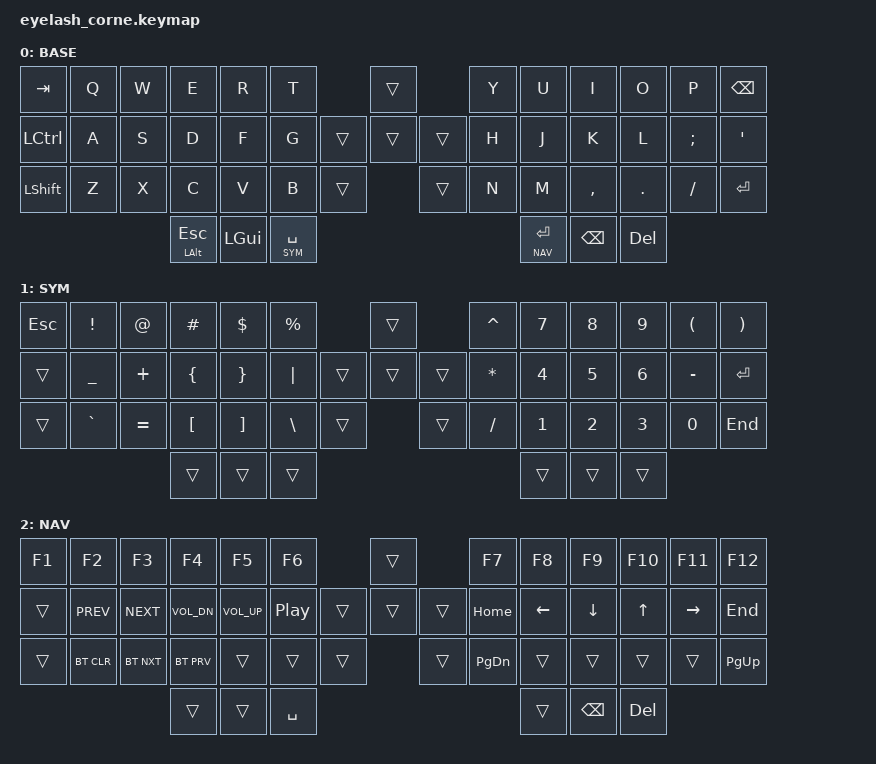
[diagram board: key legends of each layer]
#include <behaviors.dtsi>
#include <dt-bindings/zmk/backlight.h>
#include <dt-bindings/zmk/bt.h>
#include <dt-bindings/zmk/keys.h>

#define BASE 0
#define SYM  1
#define NAV  2

// ─── Mod-tap: используется только для ESC/LALT на большом пальце ─────────────
&mt {
    tapping-term-ms = <200>;
    quick-tap-ms = <150>;
    hold-trigger-on-release;
    flavor = "balanced";
};

// ─── Layer-tap: SPACE→SYM и ENTER→NAV ────────────────────────────────────────
&lt {
    tapping-term-ms = <200>;
    quick-tap-ms = <150>;
    flavor = "tap-preferred";  // быстрый тап всегда даёт символ, не слой
};

&soft_off { hold-time-ms = <2000>; };

/ {
    combos {
        compatible = "zmk,combos";

        // Зажать три клавиши 2 сек — выключить клавиатуру
        softoff {
            bindings = <&soft_off>;
            key-positions = <1 15 29>;
        };
    };

    keymap {
        compatible = "zmk,keymap";

        // ═══════════════════════════════════════════════════════════════════
        // СЛОЙ 0: BASE — QWERTY
        // Модификаторы на крайних колонках, как на обычной клаве.
        // Русский язык — переключается в ОС, ZMK ничего не делает.
        //
        // ┌────────┬───┬───┬───┬───┬───┐   ┌───┬───┬───┬───┬───┬──────┐
        // │  TAB   │ Q │ W │ E │ R │ T │   │ Y │ U │ I │ O │ P │ BSPC │
        // ├────────┼───┼───┼───┼───┼───┤   ├───┼───┼───┼───┼───┼──────┤
        // │ LCTRL  │ A │ S │ D │ F │ G │   │ H │ J │ K │ L │ ; │  '   │
        // ├────────┼───┼───┼───┼───┼───┤   ├───┼───┼───┼───┼───┼──────┤
        // │ LSHIFT │ Z │ X │ C │ V │ B │   │ N │ M │ , │ . │ / │ ENT  │
        // └────────┴───┴───┴───┴───┴───┘   └───┴───┴───┴───┴───┴──────┘
        //              ┌──────────┬──────┬───────────┐   ┌───────────┬──────┬─────┐
        //              │ ESC/LALT │ LGUI │ SPC / SYM │   │ ENT / NAV │ BSPC │ DEL │
        //              └──────────┴──────┴───────────┘   └───────────┴──────┴─────┘
        // ═══════════════════════════════════════════════════════════════════
        BASE {
            bindings = <
&kp TAB     &kp Q  &kp W  &kp E  &kp R  &kp T                      &trans          &kp Y  &kp U    &kp I      &kp O    &kp P     &kp BSPC
&kp LCTRL   &kp A  &kp S  &kp D  &kp F  &kp G              &trans  &trans  &trans  &kp H  &kp J    &kp K      &kp L    &kp SEMI  &kp SQT
&kp LSHIFT  &kp Z  &kp X  &kp C  &kp V  &kp B    &trans            &trans          &kp N  &kp M    &kp COMMA  &kp DOT  &kp FSLH  &kp ENTER
                       &mt LALT ESC  &kp LGUI  &lt SYM SPACE                        &lt NAV ENTER  &kp BSPC  &kp DEL
            >;
        };

        // ═══════════════════════════════════════════════════════════════════
        // СЛОЙ 1: SYM — символы + цифры (держать SPACE)
        // Левая рука: символы для кода (Rust/Go).
        // Правая рука: numpad (7-8-9 / 4-5-6 / 1-2-3).
        //
        // ┌─────┬───┬───┬───┬───┬───┐   ┌───┬───┬───┬───┬───┬─────┐
        // │ ESC │ ! │ @ │ # │ $ │ % │   │ ^ │ 7 │ 8 │ 9 │ ( │  )  │
        // ├─────┼───┼───┼───┼───┼───┤   ├───┼───┼───┼───┼───┼─────┤
        // │     │ _ │ + │ { │ } │ | │   │ * │ 4 │ 5 │ 6 │ - │ ENT │
        // ├─────┼───┼───┼───┼───┼───┤   ├───┼───┼───┼───┼───┼─────┤
        // │     │ ` │ = │ [ │ ] │ \ │   │ / │ 1 │ 2 │ 3 │ 0 │ END │
        // └─────┴───┴───┴───┴───┴───┘   └───┴───┴───┴───┴───┴─────┘
        //              ┌─────┬─────┬─────┐   ┌─────┬─────┬─────┐
        //              │     │     │ ███ │   │     │     │     │
        //              └─────┴─────┴─────┘   └─────┴─────┴─────┘
        // Подсказки Rust: _ (snake_case), {} (блоки), | (замыкания |x|),
        //                 `  (строки в Go), SHIFT+` = ~
        // ═══════════════════════════════════════════════════════════════════
        SYM {
            bindings = <
&kp ESC  &kp EXCL   &kp AT    &kp HASH  &kp DLLR  &kp PRCNT                  &trans          &kp CARET  &kp N7  &kp N8  &kp N9  &kp LPAR   &kp RPAR
&trans   &kp UNDER  &kp PLUS  &kp LBRC  &kp RBRC  &kp PIPE           &trans  &trans  &trans  &kp STAR   &kp N4  &kp N5  &kp N6  &kp MINUS  &kp ENTER
&trans   &kp GRAVE  &kp EQUAL &kp LBKT  &kp RBKT  &kp BSLH &trans            &trans          &kp FSLH   &kp N1  &kp N2  &kp N3  &kp N0     &kp END
                               &trans   &trans     &trans                                      &trans     &trans  &trans
            >;
        };

        // ═══════════════════════════════════════════════════════════════════
        // СЛОЙ 2: NAV — навигация + F-клавиши (держать ENTER)
        // Правая рука: стрелки VIM-style (H=←, J=↓, K=↑, L=→).
        // Левая рука: медиа-клавиши и Bluetooth.
        //
        // ┌────┬────┬────┬─────┬─────┬──────┐   ┌─────┬──────┬──────┬──────┬─────┬─────┐
        // │ F1 │ F2 │ F3 │ F4  │ F5  │  F6  │   │ F7  │  F8  │  F9  │ F10  │ F11 │ F12 │
        // ├────┼────┼────┼─────┼─────┼──────┤   ├─────┼──────┼──────┼──────┼─────┼─────┤
        // │    │ ⏮  │ ⏭  │ VOL-│ VOL+│ PLAY │   │HOME │  ←   │  ↓   │  ↑   │  →  │ END │
        // ├────┼────┼────┼─────┼─────┼──────┤   ├─────┼──────┼──────┼──────┼─────┼─────┤
        // │    │BCLR│BNXT│BPRV │     │      │   │PGDN │      │      │      │     │PGUP │
        // └────┴────┴────┴─────┴─────┴──────┘   └─────┴──────┴──────┴──────┴─────┴─────┘
        //              ┌─────┬─────┬───────┐   ┌─────┬──────┬─────┐
        //              │     │     │ SPACE │   │ ███ │ BSPC │ DEL │
        //              └─────┴─────┴───────┘   └─────┴──────┴─────┘
        // ═══════════════════════════════════════════════════════════════════
        NAV {
            bindings = <
&kp F1  &kp F2      &kp F3      &kp F4        &kp F5        &kp F6                     &trans          &kp F7    &kp F8    &kp F9    &kp F10   &kp F11    &kp F12
&trans  &kp C_PREV  &kp C_NEXT  &kp C_VOL_DN  &kp C_VOL_UP  &kp C_PP           &trans  &trans  &trans  &kp HOME  &kp LEFT  &kp DOWN  &kp UP    &kp RIGHT  &kp END
&trans  &bt BT_CLR  &bt BT_NXT  &bt BT_PRV    &trans        &trans   &trans             &trans          &kp PG_DN &trans    &trans    &trans    &trans     &kp PG_UP
                                &trans        &trans         &kp SPACE                                   &trans    &kp BSPC  &kp DEL
            >;
        };
    };
};
